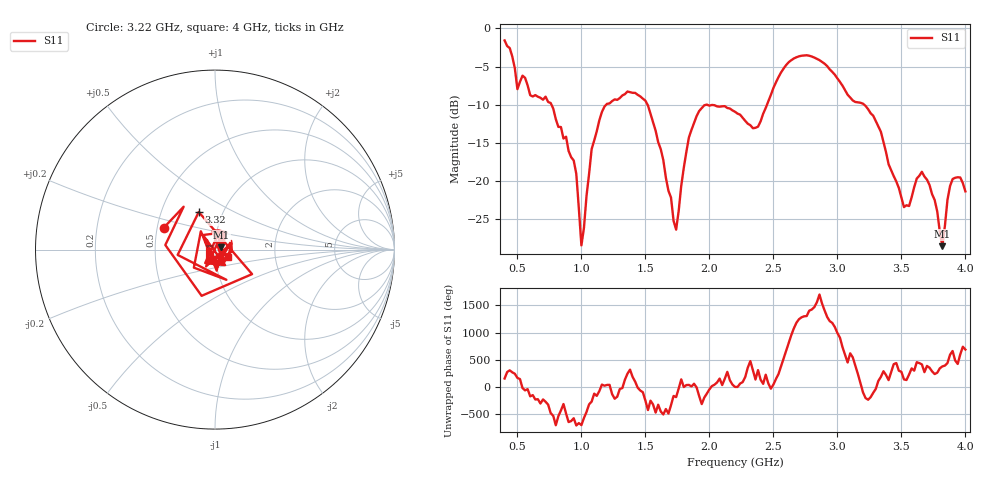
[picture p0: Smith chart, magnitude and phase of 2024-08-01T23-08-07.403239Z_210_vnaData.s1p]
!Created with skrf (http://scikit-rf.org).
# Hz S RI R 50.0
!freq ReS11 ImS11
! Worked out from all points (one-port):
!   181 points, 400 MHz to 4 GHz, reference 50 ohm
!   lowest |S11| = -28.5 dB at 3.82 GHz (marker M1), VSWR 1.08, Z = 53.7 + j1.33 ohm
!   |S11| at or under -10 dB: 1.517 GHz to 1.976 GHz (458.6 MHz wide, 26.3 % of centre); 1.983 GHz to 2.45 GHz (467.1 MHz wide, 21.1 % of centre); 3.21 GHz to end of sweep (the widest 3 of 4)
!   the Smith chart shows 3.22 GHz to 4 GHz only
!   S11 on the Smith chart (normalised r, x): 3.22 GHz: 0.54, +0.15; 3.32 GHz: 0.77, +0.34; 4 GHz: 1.15, -0.10
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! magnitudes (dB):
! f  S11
! 400 MHz  -1.6
! 500 MHz  -8.0
! 540 MHz  -6.2
! 720 MHz  -8.9
! 860 MHz  -14.4
! 960 MHz  -19.0
! 1 GHz  -28.4
! 1.08 GHz  -15.8
! 1.18 GHz  -10.2
! 1.3 GHz  -9.1
! 1.52 GHz  -10.1
! 1.74 GHz  -26.3
! 1.76 GHz  -23.9
! 1.84 GHz  -14.3
! 1.92 GHz  -10.8
! 2.2 GHz  -10.9
! 2.38 GHz  -12.9
! 2.66 GHz  -3.9
! 2.9 GHz  -4.6
! 3.1 GHz  -9.1
! 3.22 GHz  -10.2
! 3.32 GHz  -12.8
! 3.56 GHz  -23.2
! 3.66 GHz  -18.8
! 3.76 GHz  -22.5
! 3.82 GHz  -28.5
! 3.9 GHz  -19.7
! 4 GHz  -21.3
